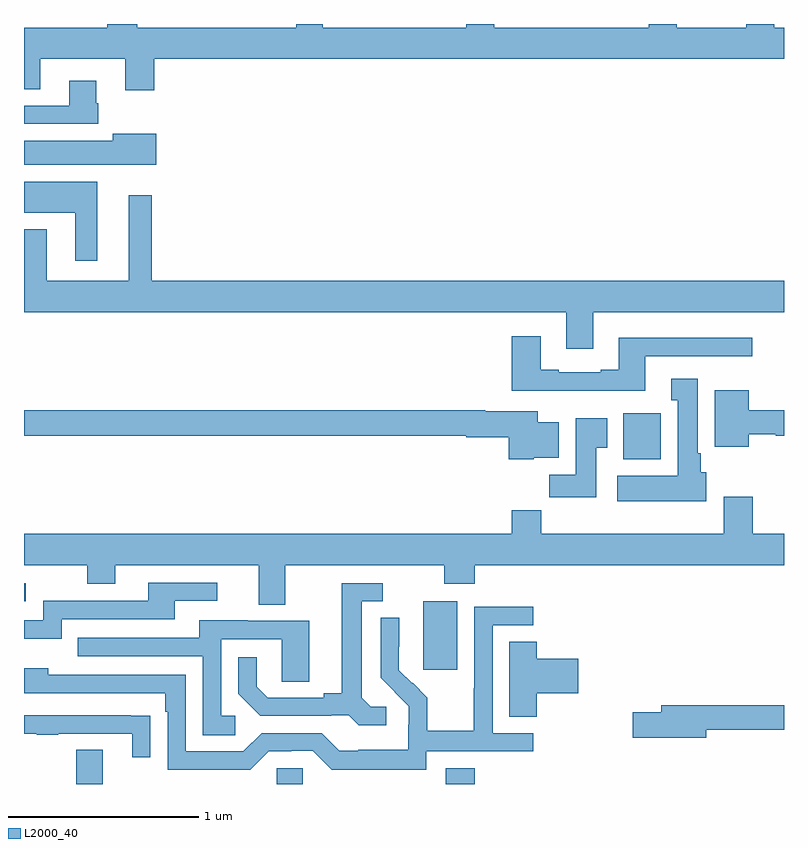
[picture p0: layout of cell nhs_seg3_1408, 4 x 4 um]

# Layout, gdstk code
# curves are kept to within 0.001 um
import gdstk
lib = gdstk.Library(unit=1e-6, precision=1e-09)
def R(c, l, rs):  # rectangles x0, y0, x1, y1
    for r in rs: c.add(gdstk.rectangle(r[:2], r[2:], *l))
def P(c, l, *ps):  # polygons
    for p in ps: c.add(gdstk.Polygon(p, *l))
L2000_40 = (2000, 40)

nhs_seg3_1408 = lib.new_cell('nhs_seg3_1408')
R(nhs_seg3_1408, L2000_40, [(183.275,730.4,183.415,730.579), (184.329,730.4,184.467,730.482), (185.219,730.4,185.372,730.483), (185.102,731.001,185.281,731.362), (183,731.361,183.01,731.457), (186.155,732.11,186.352,732.352)])
P(nhs_seg3_1408, L2000_40, [(183.686,734.216),(187,734.216),(187,734.38),(186.949,734.38),(186.949,734.4),(186.802,734.4),(186.802,734.38),(186.435,734.38),(186.435,734.4),(186.288,734.4),(186.288,734.38),(185.475,734.38),(185.475,734.4),(185.327,734.4),(185.327,734.38),(184.573,734.38),(184.573,734.4),(184.433,734.4),(184.433,734.38),(183.597,734.38),(183.597,734.4),(183.437,734.4),(183.437,734.38),(183,734.38),(183,734.056),(183.085,734.056),(183.085,734.216),(183.533,734.216),(183.533,734.052),(183.686,734.052)],
  [(183.392,733.983),(183.379,733.983),(183.379,734.101),(183.239,734.101),(183.239,733.971),(183,733.971),(183,733.875),(183.392,733.875)],
  [(183.697,733.822),(183.467,733.822),(183.467,733.786),(183,733.786),(183,733.658),(183.697,733.658)],
  [(183.385,733.57),(183,733.57),(183,733.406),(183.269,733.406),(183.269,733.155),(183.385,733.155)],
  [(185.995,732.884),(187,732.884),(187,733.048),(183.673,733.048),(183.673,733.498),(183.551,733.498),(183.551,733.048),(183.121,733.048),(183.121,733.321),(183,733.321),(183,732.884),(185.855,732.884),(185.855,732.69),(185.995,732.69)],
  [(186.271,732.651),(186.832,732.651),(186.832,732.748),(186.131,732.748),(186.131,732.58),(186.035,732.58),(186.035,732.567),(185.815,732.567),(185.815,732.58),(185.719,732.58),(185.719,732.757),(185.567,732.757),(185.567,732.47),(186.271,732.47)],
  [(186.592,732.042),(186.562,732.042),(186.562,732.142),(186.547,732.142),(186.547,732.532),(186.407,732.532),(186.407,732.419),(186.44,732.419),(186.44,732.022),(186.123,732.022),(186.123,731.888),(186.592,731.888)],
  [(186.814,732.24),(186.957,732.24),(186.957,732.232),(187,732.232),(187,732.368),(186.814,732.368),(186.814,732.472),(186.635,732.472),(186.635,732.176),(186.814,732.176)],
  [(185.682,732.116),(185.815,732.116),(185.815,732.304),(185.704,732.304),(185.704,732.361),(185.428,732.361),(185.428,732.368),(183,732.368),(183,732.232),(185.328,732.232),(185.328,732.224),(185.552,732.224),(185.552,732.11),(185.682,732.11)],
  [(186.013,732.169),(186.07,732.169),(186.07,732.325),(185.903,732.325),(185.903,732.028),(185.764,732.028),(185.764,731.91),(186.013,731.91)],
  [(184.375,731.552),(185.212,731.552),(185.212,731.453),(185.372,731.453),(185.372,731.552),(187,731.552),(187,731.716),(186.836,731.716),(186.836,731.911),(186.683,731.911),(186.683,731.716),(185.723,731.716),(185.723,731.84),(185.567,731.84),(185.567,731.716),(183,731.716),(183,731.552),(183.334,731.552),(183.334,731.453),(183.481,731.453),(183.481,731.552),(184.235,731.552),(184.235,731.344),(184.375,731.344)],
  [(183.198,731.268),(183.793,731.268),(183.793,731.364),(184.018,731.364),(184.018,731.46),(183.653,731.46),(183.653,731.364),(183.102,731.364),(183.102,731.262),(183,731.262),(183,731.165),(183.198,731.165)],
  [(184.906,730.806),(184.824,730.806),(184.777,730.853),(184.777,731.361),(184.888,731.361),(184.888,731.457),(184.673,731.457),(184.673,730.877),(184.577,730.877),(184.577,730.854),(184.282,730.854),(184.225,730.911),(184.225,731.068),(184.128,731.068),(184.128,730.874),(184.244,730.758),(184.616,730.758),(184.616,730.761),(184.71,730.761),(184.762,730.709),(184.906,730.709)],
  [(185.118,730.572),(185.68,730.572),(185.68,730.668),(185.466,730.668),(185.466,731.235),(185.68,731.235),(185.68,731.334),(185.37,731.334),(185.37,730.904),(185.368,730.904),(185.368,730.681),(185.123,730.681),(185.123,730.855),(185.046,730.932),(185.043,730.929),(184.973,731),(184.974,731.276),(184.878,731.276),(184.878,730.958),(185.024,730.81),(185.024,730.713),(185.022,730.713),(185.022,730.579),(184.759,730.579),(184.759,730.575),(184.659,730.575),(184.566,730.668),(184.251,730.668),(184.155,730.572),(183.852,730.572),(183.852,730.974),(183.128,730.974),(183.128,731.008),(183,731.008),(183,730.878),(183.743,730.878),(183.743,730.781),(183.756,730.781),(183.756,730.476),(184.191,730.476),(184.287,730.572),(184.406,730.572),(184.406,730.575),(184.521,730.575),(184.621,730.475),(185.118,730.475)],
  [(184.111,730.758),(184.038,730.758),(184.038,731.163),(184.356,731.163),(184.356,730.939),(184.501,730.939),(184.501,731.259),(184.177,731.259),(184.177,731.263),(183.923,731.263),(183.923,731.169),(183.283,731.169),(183.283,731.073),(183.942,731.073),(183.942,730.657),(184.111,730.657)],
  [(185.699,730.877),(185.917,730.877),(185.917,731.06),(185.699,731.06),(185.699,731.15),(185.555,731.15),(185.555,730.753),(185.699,730.753)],
  [(186.592,730.686),(187,730.686),(187,730.814),(186.353,730.814),(186.353,730.778),(186.204,730.778),(186.204,730.643),(186.592,730.643)],
  [(183.665,730.76),(183.563,730.76),(183.563,730.761),(183,730.761),(183,730.665),(183.067,730.665),(183.067,730.66),(183.179,730.66),(183.179,730.665),(183.569,730.665),(183.569,730.542),(183.665,730.542)])

lib.write_gds('nhs_seg3_1408.gds')
